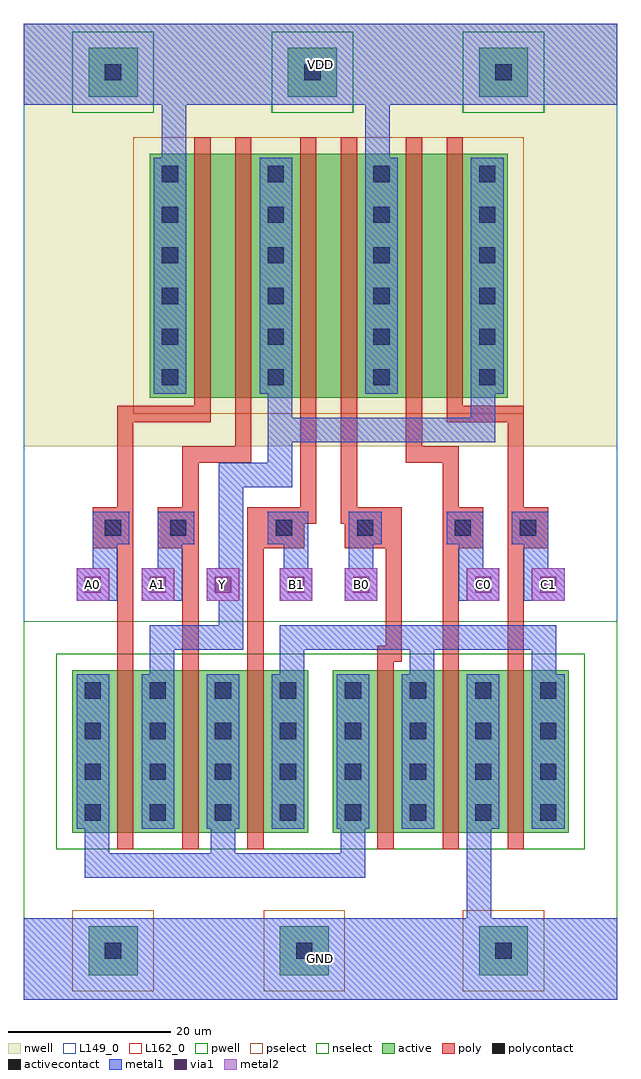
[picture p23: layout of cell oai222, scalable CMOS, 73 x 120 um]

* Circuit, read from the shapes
.subckt oai222 A0 A1 B0 B1 C0 C1 GND VDD Y
M1 Y A0 n1 GND nfet w=20u l=2u
M2 n1 A1 Y GND nfet w=20u l=2u
M3 n2 B1 n1 GND nfet w=20u l=2u
M4 n2 B0 n1 GND nfet w=20u l=2u
M5 GND C0 n2 GND nfet w=20u l=2u
M6 n2 C1 GND GND nfet w=20u l=2u
M7 n3 A0 VDD VDD pfet w=30u l=2u
M8 Y A1 n3 VDD pfet w=30u l=2u
M9 n4 B1 Y VDD pfet w=30u l=2u
M10 VDD B0 n4 VDD pfet w=30u l=2u
M11 n5 C0 VDD VDD pfet w=30u l=2u
M12 Y C1 n5 VDD pfet w=30u l=2u
.ends

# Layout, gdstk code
import gdstk
lib = gdstk.Library(unit=1e-6, precision=1e-09)
def R(c, l, rs):  # rectangles x0, y0, x1, y1
    for r in rs: c.add(gdstk.rectangle(r[:2], r[2:], *l))
def A(c, l, x, y, w, h, nx, ny, dx, dy):  # array of equal rectangles
    R(c, l, [(x+i*dx, y+j*dy, x+i*dx+w, y+j*dy+h) for i in range(nx) for j in range(ny)])
pwell = (41, 0)
nwell = (42, 0)
active = (43, 0)
pselect = (44, 0)
nselect = (45, 0)
poly = (46, 0)
polycontact = (47, 0)
activecontact = (48, 0)
metal1 = (49, 0)
via1 = (50, 0)
metal2 = (51, 0)
L149_0 = (149, 0)
L162_0 = (162, 0)

pwell_contact = lib.new_cell('pwell_contact')
R(pwell_contact, pwell, [(-6,-6,6,5)])
R(pwell_contact, active, [(-3,-3,3,3)])
R(pwell_contact, pselect, [(-5,-5,5,5)])
R(pwell_contact, activecontact, [(-1,-1,1,1)])

nwell_contact = lib.new_cell('nwell_contact')
R(nwell_contact, nwell, [(-6,-5,6,6)])
R(nwell_contact, active, [(-3,-3,3,3)])
R(nwell_contact, nselect, [(-5,-5,5,5)])
R(nwell_contact, activecontact, [(-1,-1,1,1)])

via = lib.new_cell('via')
R(via, metal1, [(-2,-2,2,2)])
R(via, via1, [(-1,-1,1,1)])
R(via, metal2, [(-2,-2,2,2)])

oai222 = lib.new_cell('oai222')
R(oai222, pwell, [(0,0,73,20), (0,10,73,46.5), (0,14.5,41,46.5), (32,14.5,73,46.5)])
R(oai222, nwell, [(0,68,73,110), (9.5,68,65.5,110), (0,95,73,120)])
R(oai222, active, [(6,20.5,11.5,40.5), (6,20.5,35,40.5), (29.5,20.5,35,40.5), (38,20.5,43.5,40.5), (38,20.5,67,40.5), (61.5,20.5,67,40.5), (15.5,74,59.5,104)])
R(oai222, pselect, [(13.5,72,61.5,106)])
R(oai222, nselect, [(4,18.5,37,42.5), (36,18.5,69,42.5)])
A(oai222, poly, 11.5, 18.5, 2, 2, 3, 2, 8, 22)
A(oai222, poly, 43.5, 18.5, 2, 2, 3, 2, 8, 22)
A(oai222, poly, 11.5, 20.5, 2, 20, 3, 1, 8, 0)
A(oai222, poly, 43.5, 20.5, 2, 20, 3, 1, 8, 0)
R(oai222, poly, [(8.5,55.5,13.5,60.5), (16.5,55.5,21.5,60.5), (29.5,55.5,34.5,60.5), (39.5,55.5,44.5,60.5), (51.5,55.5,56.5,60.5), (59.5,55.5,64.5,60.5), (21,72,23,74), (26,72,28,74), (34,72,36,74), (39,72,41,74), (47,72,49,74), (52,72,54,74), (21,74,23,104), (26,74,28,104), (34,74,36,104), (39,74,41,104), (47,74,49,104), (52,74,54,104), (21,104,23,106), (26,104,28,106), (34,104,36,106), (39,104,41,106), (47,104,49,106), (52,104,54,106)])
R(oai222, polycontact, [(10,57,12,59), (18,57,20,59), (31,57,33,59), (41,57,43,59), (53,57,55,59), (61,57,63,59)])
A(oai222, activecontact, 7.5, 22, 2, 2, 8, 4, 8, 5)
A(oai222, activecontact, 17, 75.5, 2, 2, 4, 6, 13, 5)
A(oai222, metal1, 6.5, 21, 4, 19, 8, 1, 8, 0)
A(oai222, metal1, 16, 74.5, 4, 29, 4, 1, 13, 0)
R(oai222, metal1, [(0,0,73,10), (0,0,73,10), (9,56,13,60), (17,56,21,60), (30,56,34,60), (40,56,44,60), (52,56,56,60), (60,56,64,60), (0,110,73,120), (0,110,73,120)])
A(oai222, metal2, 6.5, 49, 4, 4, 3, 1, 8, 0)
R(oai222, metal2, [(31.5,49,35.5,53), (39.5,49,43.5,53), (54.5,49,58.5,53), (62.5,49,66.5,53)])
R(oai222, L149_0, [(0,0,73,10), (0,0,73,120), (9,56,13,60), (17,56,21,60), (30,56,34,60), (40,56,44,60), (52,56,56,60), (60,56,64,60), (0,110,73,120)])
A(oai222, L162_0, 6.5, 49, 4, 4, 3, 1, 8, 0)
R(oai222, L162_0, [(31.5,49,35.5,53), (39.5,49,43.5,53), (54.5,49,58.5,53), (62.5,49,66.5,53)])
oai222.add(gdstk.FlexPath([(43.5,103.5),(43.5,110)], 3, ends="flush", simple_path=True, layer=149, datatype=0))  # L149_0
oai222.add(gdstk.FlexPath([(31.5,74.5),(31.5,70),(56.5,70),(56.5,74.5)], 3, ends="flush", simple_path=True, layer=149, datatype=0))  # L149_0
oai222.add(gdstk.FlexPath([(23,16.5),(9,16.5),(9,21)], 3, ends="flush", simple_path=True, layer=149, datatype=0))  # L149_0
oai222.add(gdstk.FlexPath([(56,26),(56,10)], 3, ends="flush", simple_path=True, layer=149, datatype=0))  # L149_0
oai222.add(gdstk.FlexPath([(49,40),(49,44.5),(64,44.5),(64,40)], 3, ends="flush", simple_path=True, layer=149, datatype=0))  # L149_0
oai222.add(gdstk.FlexPath([(33,40),(33,44.5),(47.5,44.5)], 3, ends="flush", simple_path=True, layer=149, datatype=0))  # L149_0
oai222.add(gdstk.FlexPath([(18.5,103.5),(18.5,110)], 3, ends="flush", simple_path=True, layer=149, datatype=0))  # L149_0
oai222.add(gdstk.FlexPath([(63,49),(63,60)], 3, ends="flush", simple_path=True, layer=149, datatype=0))  # L149_0
oai222.add(gdstk.FlexPath([(41.5,60),(41.5,49)], 3, ends="flush", simple_path=True, layer=149, datatype=0))  # L149_0
oai222.add(gdstk.FlexPath([(18,49),(18,60)], 3, ends="flush", simple_path=True, layer=149, datatype=0))  # L149_0
oai222.add(gdstk.FlexPath([(10,60),(10,49)], 3, ends="flush", simple_path=True, layer=149, datatype=0))  # L149_0
oai222.add(gdstk.FlexPath([(33.5,60),(33.5,53)], 3, ends="flush", simple_path=True, layer=149, datatype=0))  # L149_0
oai222.add(gdstk.FlexPath([(55,49),(55,60)], 3, ends="flush", simple_path=True, layer=149, datatype=0))  # L149_0
oai222.add(gdstk.FlexPath([(17,40),(17,44.5),(25.5,44.5),(25.5,64.5),(31.5,64.5),(31.5,68.5)], 3, ends="flush", simple_path=True, layer=149, datatype=0))  # L149_0
oai222.add(gdstk.FlexPath([(24.5,21),(24.5,16.5),(40.5,16.5),(40.5,21)], 3, ends="flush", simple_path=True, layer=149, datatype=0))  # L149_0
oai222.add(gdstk.FlexPath([(27,72),(27,67),(20.5,67),(20.5,42.5)], 2, ends="flush", simple_path=True, layer=46, datatype=0))  # poly
oai222.add(gdstk.FlexPath([(28.5,42.5),(28.5,59.5),(35,59.5),(35,72)], 2, ends="flush", simple_path=True, layer=46, datatype=0))  # poly
oai222.add(gdstk.FlexPath([(52.5,42.5),(52.5,67),(48,67),(48,72)], 2, ends="flush", simple_path=True, layer=46, datatype=0))  # poly
oai222.add(gdstk.FlexPath([(52,72),(60.5,72),(60.5,42.5)], 2, ends="flush", simple_path=True, layer=46, datatype=0))  # poly
oai222.add(gdstk.FlexPath([(43.5,42.5),(45.5,42.5),(45.5,59.5),(40,59.5),(40,72)], 2, ends="flush", simple_path=True, layer=46, datatype=0))  # poly
oai222.add(gdstk.FlexPath([(23,72),(12.5,72),(12.5,42.5)], 2, ends="flush", simple_path=True, layer=46, datatype=0))  # poly
oai222.add(gdstk.FlexPath([(17,40),(17,44.5),(25.5,44.5),(25.5,64.5),(31.5,64.5),(31.5,68.5)], 3, ends="flush", simple_path=True, layer=49, datatype=0))  # metal1
oai222.add(gdstk.FlexPath([(43.5,103.5),(43.5,110)], 3, ends="flush", simple_path=True, layer=49, datatype=0))  # metal1
oai222.add(gdstk.FlexPath([(31.5,74.5),(31.5,70),(56.5,70),(56.5,74.5)], 3, ends="flush", simple_path=True, layer=49, datatype=0))  # metal1
oai222.add(gdstk.FlexPath([(23,16.5),(9,16.5),(9,21)], 3, ends="flush", simple_path=True, layer=49, datatype=0))  # metal1
oai222.add(gdstk.FlexPath([(56,26),(56,10)], 3, ends="flush", simple_path=True, layer=49, datatype=0))  # metal1
oai222.add(gdstk.FlexPath([(49,40),(49,44.5),(64,44.5),(64,40)], 3, ends="flush", simple_path=True, layer=49, datatype=0))  # metal1
oai222.add(gdstk.FlexPath([(33,40),(33,44.5),(47.5,44.5)], 3, ends="flush", simple_path=True, layer=49, datatype=0))  # metal1
oai222.add(gdstk.FlexPath([(18.5,103.5),(18.5,110)], 3, ends="flush", simple_path=True, layer=49, datatype=0))  # metal1
oai222.add(gdstk.FlexPath([(63,49),(63,60)], 3, ends="flush", simple_path=True, layer=49, datatype=0))  # metal1
oai222.add(gdstk.FlexPath([(41.5,60),(41.5,49)], 3, ends="flush", simple_path=True, layer=49, datatype=0))  # metal1
oai222.add(gdstk.FlexPath([(18,49),(18,60)], 3, ends="flush", simple_path=True, layer=49, datatype=0))  # metal1
oai222.add(gdstk.FlexPath([(10,60),(10,49)], 3, ends="flush", simple_path=True, layer=49, datatype=0))  # metal1
oai222.add(gdstk.FlexPath([(33.5,60),(33.5,53)], 3, ends="flush", simple_path=True, layer=49, datatype=0))  # metal1
oai222.add(gdstk.FlexPath([(55,49),(55,60)], 3, ends="flush", simple_path=True, layer=49, datatype=0))  # metal1
oai222.add(gdstk.FlexPath([(24.5,21),(24.5,16.5),(40.5,16.5),(40.5,21)], 3, ends="flush", simple_path=True, layer=49, datatype=0))  # metal1
oai222.add(gdstk.Reference(pwell_contact, (34.5,6)))
oai222.add(gdstk.Reference(pwell_contact, (59,6)))
oai222.add(gdstk.Reference(pwell_contact, (11,6)))
oai222.add(gdstk.Reference(nwell_contact, (35.5,114)))
oai222.add(gdstk.Reference(nwell_contact, (59,114)))
oai222.add(gdstk.Reference(nwell_contact, (11,114)))
oai222.add(gdstk.Reference(via, (16.5,51)))
oai222.add(gdstk.Reference(via, (24.5,51)))
oai222.add(gdstk.Reference(via, (33.5,51)))
oai222.add(gdstk.Reference(via, (64.5,51)))
oai222.add(gdstk.Reference(via, (56.5,51)))
oai222.add(gdstk.Reference(via, (8.5,51)))
oai222.add(gdstk.Reference(via, (41.5,51)))
oai222.add(gdstk.Label('C1', (64.5,51), layer=3, texttype=0))
oai222.add(gdstk.Label('C0', (56.5,51), layer=3, texttype=0))
oai222.add(gdstk.Label('B0', (41.5,51), layer=3, texttype=0))
oai222.add(gdstk.Label('Y', (24.5,51), layer=3, texttype=0))
oai222.add(gdstk.Label('B1', (33.5,51), layer=3, texttype=0))
oai222.add(gdstk.Label('A1', (16.5,51), layer=3, texttype=0))
oai222.add(gdstk.Label('A0', (8.5,51), layer=3, texttype=0))
oai222.add(gdstk.Label('GND', (36.5,5), layer=2, texttype=0))
oai222.add(gdstk.Label('VDD', (36.5,115), layer=2, texttype=0))

lib.write_gds('oai222.gds')
